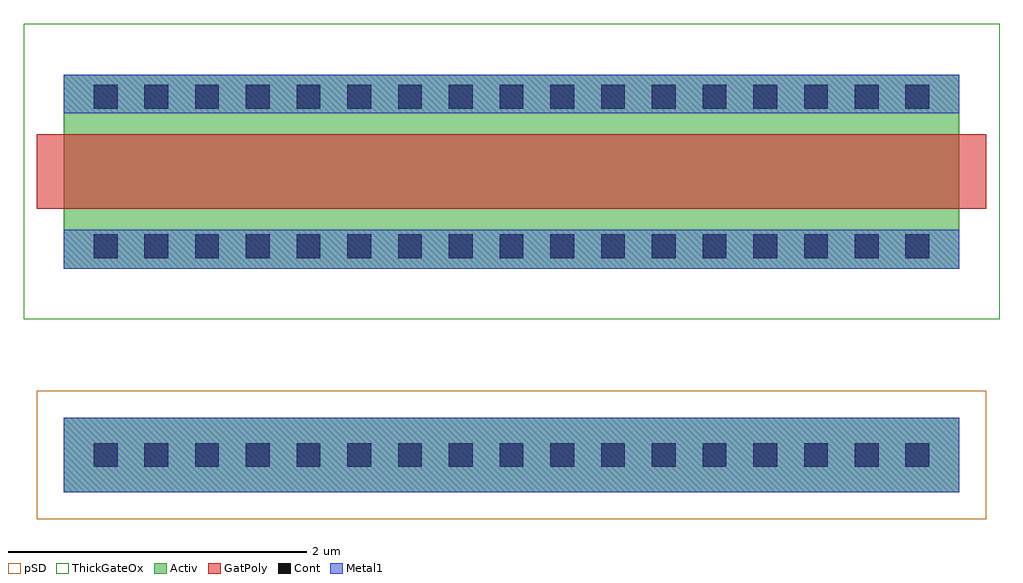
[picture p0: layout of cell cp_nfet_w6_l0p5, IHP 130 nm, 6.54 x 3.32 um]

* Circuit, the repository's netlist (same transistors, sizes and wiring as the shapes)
* extracted by klt extract --deck sg13cmos5l

* cell cp_nfet_w6_l0p5
* pin vsubs
.SUBCKT cp_nfet_w6_l0p5 vsubs
* device instance $1 r0 *1 4.3,3.11 nfet
X$1 \$2 \$1 \$3 vsubs sg13_hv_nmos L=0.5U W=6U AS=2.4P AD=2.4P PS=12.8U PD=12.8U
.ENDS cp_nfet_w6_l0p5

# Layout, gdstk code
import gdstk
lib = gdstk.Library(unit=1e-6, precision=1e-09)
def R(c, l, rs):  # rectangles x0, y0, x1, y1
    for r in rs: c.add(gdstk.rectangle(r[:2], r[2:], *l))
def A(c, l, x, y, w, h, nx, ny, dx, dy):  # array of equal rectangles
    R(c, l, [(x+i*dx, y+j*dy, x+i*dx+w, y+j*dy+h) for i in range(nx) for j in range(ny)])
Activ = (1, 0)
GatPoly = (5, 0)
Cont = (6, 0)
Metal1 = (8, 0)
pSD = (14, 0)
ThickGateOx = (44, 0)

cp_nfet_w6_l0p5 = lib.new_cell('cp_nfet_w6_l0p5')
R(cp_nfet_w6_l0p5, Activ, [(0.89,0.96,6.89,1.46), (0.89,2.46,6.89,3.76)])
R(cp_nfet_w6_l0p5, GatPoly, [(0.71,2.86,7.07,3.36)])
A(cp_nfet_w6_l0p5, Cont, 1.09, 1.13, 0.16, 0.16, 17, 2, 0.34, 1.4)
A(cp_nfet_w6_l0p5, Cont, 1.09, 3.53, 0.16, 0.16, 17, 1, 0.34, 0)
R(cp_nfet_w6_l0p5, Metal1, [(0.89,0.96,6.89,1.46), (0.89,2.46,6.89,2.72), (0.89,3.5,6.89,3.76)])
R(cp_nfet_w6_l0p5, pSD, [(0.71,0.78,7.07,1.64)])
R(cp_nfet_w6_l0p5, ThickGateOx, [(0.62,2.12,7.16,4.1)])

lib.write_gds('cp_nfet_w6_l0p5.gds')
